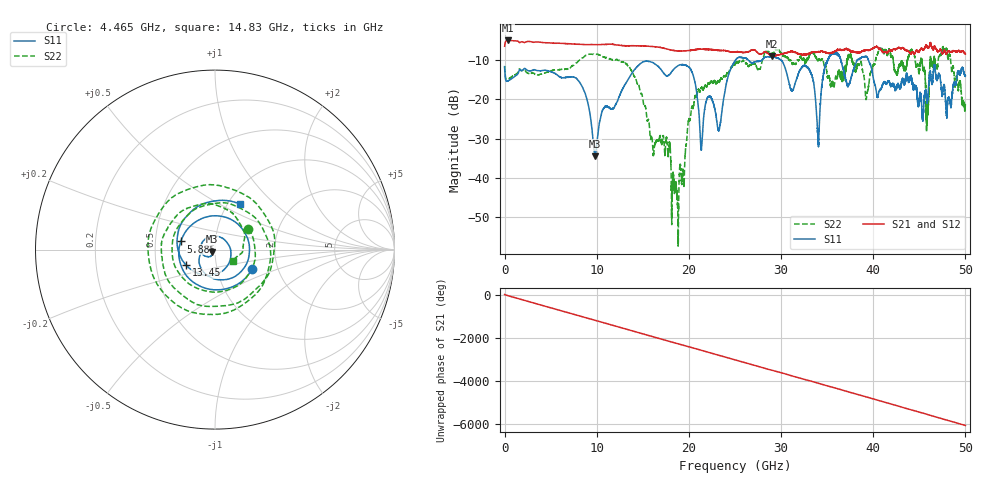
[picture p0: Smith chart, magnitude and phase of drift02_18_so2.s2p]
!Created with skrf (http://scikit-rf.org).
# Hz S RI R 50.0
!freq ReS11 ImS11 ReS21 ImS21 ReS12 ImS12 ReS22 ImS22
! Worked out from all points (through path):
!   10001 points, 300 kHz to 50 GHz, reference 50 ohm
!   highest |S21| = -5.04 dB at 325.3 MHz (marker M1); lowest = -9.0 dB at 29.05 GHz (marker M2)
!   group delay of S21, straight-line fit = 336 ps
!   lowest |S11| = -34.5 dB at 9.84 GHz (marker M3), VSWR 1.04, Z = 48.5 - j1.04 ohm
!   |S11| at or under -10 dB: start of sweep to 25.08 GHz; 29.98 GHz to 35.08 GHz (5.094 GHz wide, 15.7 % of centre); 39.47 GHz to end of sweep (the widest 3 of 6)
!   |S22| runs from -57.3 to -6.6 dB; largest |S21 - S12| = 0.023
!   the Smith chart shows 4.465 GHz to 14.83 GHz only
!   S11 on the Smith chart (normalised r, x): 4.465 GHz: 1.47, -0.34; 5.885 GHz: 0.68, +0.06; 13.45 GHz: 0.71, -0.13; 14.83 GHz: 1.14, +0.63
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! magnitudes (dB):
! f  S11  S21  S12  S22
! 300 kHz  -11.7  -6.5  -6.5  -11.6
! 325.3 MHz  -15.4  -5.0  -5.0  -15.0
! 4.465 GHz  -12.6  -5.6  -5.6  -13.2
! 5.885 GHz  -14.1  -5.7  -5.7  -12.5
! 8.335 GHz  -16.4  -6.0  -6.0  -9.6
! 9.84 GHz  -34.5  -6.1  -6.1  -8.5
! 13.45 GHz  -14.7  -6.4  -6.4  -11.6
! 14.83 GHz  -10.8  -6.4  -6.4  -18.5
! 16.67 GHz  -11.7  -6.7  -6.7  -30.5
! 18.68 GHz  -11.7  -7.7  -7.7  -43.6
! 20.37 GHz  -13.3  -7.5  -7.5  -22.0
! 21.37 GHz  -32.4  -7.3  -7.3  -17.0
! 23.31 GHz  -27.5  -7.6  -7.6  -15.6
! 25 GHz  -10.3  -8.0  -8.0  -11.1
! 29.05 GHz  -9.1  -9.0  -9.0  -8.2
! 33.34 GHz  -13.9  -8.1  -8.2  -8.0
! 34.02 GHz  -31.3  -7.9  -8.0  -10.2
! 35.52 GHz  -8.5  -8.2  -8.1  -15.8
! 41.67 GHz  -15.3  -7.7  -7.7  -7.6
! 45.86 GHz  -20.7  -6.7  -6.8  -23.2
! 47.75 GHz  -16.9  -7.4  -7.5  -7.6
! 50 GHz  -14.0  -8.4  -8.4  -21.4
